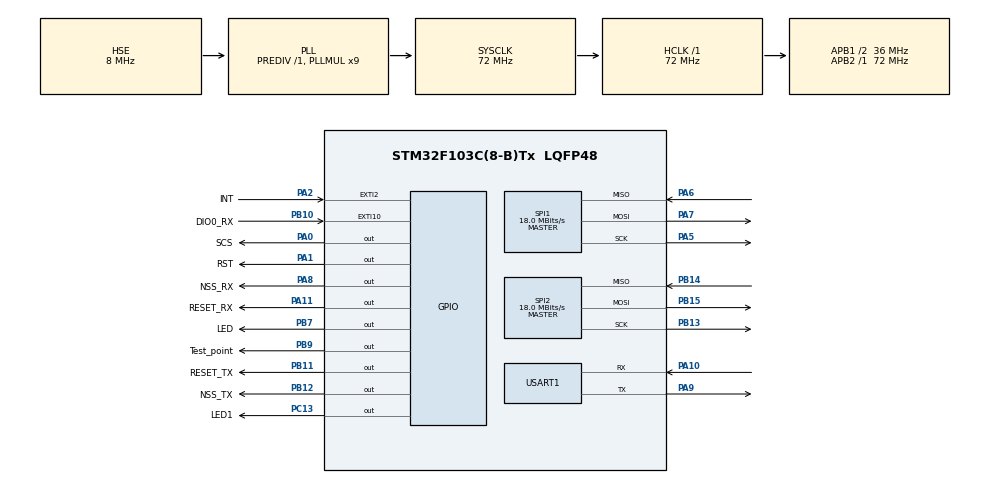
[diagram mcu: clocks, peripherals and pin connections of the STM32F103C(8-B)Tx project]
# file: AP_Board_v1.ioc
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Mcu.Family=STM32F1
Mcu.Name=STM32F103C(8-B)Tx
Mcu.Package=LQFP48
NVIC.EXTI15_10_IRQn=true\:0\:0\:false\:false\:true\:true\:true\:true
NVIC.EXTI2_IRQn=true\:0\:0\:false\:false\:true\:true\:true\:true
NVIC.PriorityGroup=NVIC_PRIORITYGROUP_4
NVIC.TIM1_UP_IRQn=true\:0\:0\:false\:false\:true\:true\:true\:true
NVIC.TIM2_IRQn=true\:0\:0\:false\:false\:true\:true\:true\:true
PA0-WKUP.GPIO_Label=SCS
PA0-WKUP.Signal=GPIO_Output
PA1.GPIO_Label=RST
PA1.Signal=GPIO_Output
PA10.Mode=Asynchronous
PA10.Signal=USART1_RX
PA11.GPIO_Label=RESET_RX
PA11.Signal=GPIO_Output
PA13.Mode=Serial_Wire
PA13.Signal=SYS_JTMS-SWDIO
PA14.Mode=Serial_Wire
PA14.Signal=SYS_JTCK-SWCLK
PA2.GPIO_Label=INT
PA2.GPIO_ModeDefaultEXTI=GPIO_MODE_IT_RISING
PA2.Signal=GPXTI2
PA5.Mode=Full_Duplex_Master
PA5.Signal=SPI1_SCK
PA6.Mode=Full_Duplex_Master
PA6.Signal=SPI1_MISO
PA7.Mode=Full_Duplex_Master
PA7.Signal=SPI1_MOSI
PA8.GPIO_Label=NSS_RX
PA8.Signal=GPIO_Output
PA9.Mode=Asynchronous
PA9.Signal=USART1_TX
PB10.GPIO_Label=DIO0_RX
PB10.Signal=GPXTI10
PB11.GPIO_Label=RESET_TX
PB11.Signal=GPIO_Output
PB12.GPIO_Label=NSS_TX
PB12.Signal=GPIO_Output
PB13.Mode=Full_Duplex_Master
PB13.Signal=SPI2_SCK
PB14.Mode=Full_Duplex_Master
PB14.Signal=SPI2_MISO
PB15.Mode=Full_Duplex_Master
PB15.Signal=SPI2_MOSI
PB7.GPIO_Label=LED
PB7.Signal=GPIO_Output
PB9.GPIO_Label=Test_point
PB9.GPIO_Speed=GPIO_SPEED_FREQ_HIGH
PB9.Signal=GPIO_Output
PC13-TAMPER-RTC.GPIO_Label=LED1
PC13-TAMPER-RTC.Signal=GPIO_Output
PD0-OSC_IN.Mode=HSE-External-Oscillator
PD0-OSC_IN.Signal=RCC_OSC_IN
PD1-OSC_OUT.Mode=HSE-External-Oscillator
PD1-OSC_OUT.Signal=RCC_OSC_OUT
ProjectManager.HeapSize=0x200
ProjectManager.StackSize=0x400
ProjectManager.TargetToolchain=MDK-ARM V5.32
RCC.AHBFreq_Value=72000000
RCC.APB1CLKDivider=RCC_HCLK_DIV2
RCC.APB1Freq_Value=36000000
RCC.APB1TimFreq_Value=72000000
RCC.APB2Freq_Value=72000000
RCC.APB2TimFreq_Value=72000000
RCC.HCLKFreq_Value=72000000
RCC.PLLMUL=RCC_PLL_MUL9
RCC.PLLSourceVirtual=RCC_PLLSOURCE_HSE
RCC.SYSCLKFreq_VALUE=72000000
RCC.SYSCLKSource=RCC_SYSCLKSOURCE_PLLCLK
RCC.USBFreq_Value=72000000
SPI1.BaudRatePrescaler=SPI_BAUDRATEPRESCALER_4
SPI1.CalculateBaudRate=18.0 MBits/s
SPI1.Direction=SPI_DIRECTION_2LINES
SPI1.Mode=SPI_MODE_MASTER
SPI1.VirtualType=VM_MASTER
SPI2.CalculateBaudRate=18.0 MBits/s
SPI2.Direction=SPI_DIRECTION_2LINES
SPI2.Mode=SPI_MODE_MASTER
SPI2.VirtualType=VM_MASTER
TIM1.Period=999
TIM1.Prescaler=71
TIM2.AutoReloadPreload=TIM_AUTORELOAD_PRELOAD_ENABLE
TIM2.Prescaler=71
USART1.VirtualMode=VM_ASYNC
VP_TIM1_VS_ClockSourceINT.Mode=Internal
VP_TIM2_VS_ClockSourceINT.Mode=Internal
board=custom

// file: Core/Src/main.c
/* USER CODE BEGIN Header */
/**
  ******************************************************************************
  * @file           : main.c
  * @brief          : Main program body
  ******************************************************************************
  * @attention
  *
  * Copyright (c) 2024 STMicroelectronics.
  * All rights reserved.
  *
  * This software is licensed under terms that can be found in the LICENSE file
  * in the root directory of this software component.
  * If no LICENSE file comes with this software, it is provided AS-IS.
  *
  ******************************************************************************
  */
/* USER CODE END Header */
#include "main.h"

/* USER CODE BEGIN Includes */
#include "socket.h"
#include "wizchip_conf.h"
#include "w5500.h"
#include "w5500_spi.h"
#include "data_process.h"

#include <stdarg.h>
#include <string.h>
#include <stdlib.h>

#include <Lora.h>

/* USER CODE END Includes */

SPI_HandleTypeDef hspi1;
SPI_HandleTypeDef hspi2;

TIM_HandleTypeDef htim1;
TIM_HandleTypeDef htim2;

UART_HandleTypeDef huart1;

/* USER CODE BEGIN PV */

	/*------------------------------------*/
	uint8_t TX_toPC[DATA_BUF_SIZE];
	uint8_t RX_fromPC[DATA_BUF_SIZE];

	uint8_t des_ip[] = {192,168,1,100};
	uint16_t des_port = 1111;

	/*------------------------------------*/
	LoRa LoRa_TX;
	LoRa LoRa_RX;

	uint8_t TX_toRobot[DATA_BUF_SIZE];
	uint8_t RX_fromRobot[DATA_BUF_SIZE];
	/*------------------------------------*/

	uint32_t k = 0;

	uint8_t flag_rx = 0;
	uint8_t have_cmd = 0;

	uint16_t flag_led = 0;
	uint16_t toggle = 0;

	uint32_t time_tick = 0;
	uint32_t start = 0, s=0;
	uint32_t end = 0, e=0;
	uint32_t time = 0, t=0;

	uint16_t result_config_TX = 0xEE;
	uint16_t result_config_RX = 0xEE;

	uint8_t auto_trans = 0;
	uint8_t check_trans = 0xCC;
	uint8_t check_rx = 0xCC;

	uint8_t result_send = 0;

	uint16_t num_receive = 0;

	uint32_t tick_while1 = 0;

	uint16_t flag_autosend = 0;

	uint32_t dagui = 0;
	uint32_t danhan = 0;
	uint32_t gui_dung = 0;

	uint8_t flag_get_mode = 0;
	uint8_t check_regMode = 0x00;

	uint8_t flag_send_FSK = 0;
	uint8_t check_trans_FSK = 0;

	uint16_t num_RX_LoRa = 0;

	uint8_t enable_rx = 1;

	uint8_t check_byte1 = 0x00;
	uint8_t check_byte2 = 0x00;

	//--------------------------------------
	timeInterval_t vTimeTransfer;

/* USER CODE END PV */

void SystemClock_Config(void);
static void MX_GPIO_Init(void);
static void MX_SPI1_Init(void);
static void MX_USART1_UART_Init(void);
static void MX_TIM1_Init(void);
static void MX_SPI2_Init(void);
static void MX_TIM2_Init(void);

/* USER CODE BEGIN 0 */
	void my_printf(const char* format, ...) {
//    va_list args;
//    va_start(args, format);

//    char buffer[256];
//    vsnprintf(buffer, sizeof(buffer), format, args);

//    // Gui du lieu qua UART
//    //HAL_UART_Transmit(&huart1, (uint8_t*)buffer, strlen(buffer), HAL_MAX_DELAY);

//    va_end(args);
	}
	/*----------------------------------------------------*/
	void HAL_GPIO_EXTI_Callback(uint16_t GPIO_Pin) {
    if(GPIO_Pin == INT_Pin){

    }
		if(GPIO_Pin == LoRa_RX.DIO0_pin){
			num_RX_LoRa++;
			if(enable_rx == 1)
				flag_rx = 1;
		}
	}
	/*----------------------------------------------------*/
	void HAL_TIM_PeriodElapsedCallback(TIM_HandleTypeDef *htim)
	{
		/* Prevent unused argument(s) compilation warning */
		UNUSED(htim);

		if (htim->Instance == htim1.Instance){ 	// every 1ms
      flag_led++;
			if(++flag_autosend >= 100){
				flag_autosend = 0;
				auto_trans = 1;
			}
    }
		if (htim->Instance == htim2.Instance){ 	// every 1us
      time_tick++;
			HAL_GPIO_TogglePin(Test_point_GPIO_Port, Test_point_Pin);
    }
	}
	/*----------------------------------------------------*/
	void TimeOut_Init(timeInterval_t *pTO){
		pTO->start_time = 0;
		pTO->current_time = 0;
		pTO->interval = 0;
	}
	/*----------------------------------------------------*/
	uint8_t checksum(uint8_t *array, uint8_t size){
    uint8_t sum = 0x00;
    for(uint8_t i = 0; i < size-1; i++)
        sum += array[i];
    return sum;
	}
	/*----------------------------------------------------*/
	uint32_t getMicroS(void){
		return time_tick*65536 + __HAL_TIM_GetCounter(&htim2);
	}

/* USER CODE END 0 */

int main(void)
 {

  /* MCU Configuration--------------------------------------------------------*/

  /* Reset of all peripherals, Initializes the Flash interface and the Systick. */
  HAL_Init();

  /* USER CODE BEGIN Init */
		TimeOut_Init(&vTimeTransfer);

  /* USER CODE END Init */

  /* Configure the system clock */
  SystemClock_Config();

  /* Initialize all configured peripherals */
  MX_GPIO_Init();
  MX_SPI1_Init();
  MX_USART1_UART_Init();
  MX_TIM1_Init();
  MX_SPI2_Init();
  MX_TIM2_Init();
  /* USER CODE BEGIN 2 */
		memset(RX_fromPC, 0x00, DATA_BUF_SIZE);
		memset(TX_toPC, 0x00, DATA_BUF_SIZE);
		HAL_GPIO_WritePin(LED_GPIO_Port, LED_Pin, GPIO_PIN_RESET);

		/*********************************
		 *				Init for W5500
		 *********************************/
		w5500_Init();
		/***w5500_Config only use once when set IP and port***/
		//w5500_Config();

		/*----------------------------------------*/
		/***Make a Server and open a listening port***/
		if(socket(1,Sn_MR_UDP, 1111, 0) != 1){
			my_printf("\r\n Cannot create socket!");
			toggle = 2000;
		}
		else{
			toggle = 1000;
			my_printf("\r\nSocket Created Successdully!\r\n");
			uint8_t socket_io_mode =SOCK_IO_BLOCK;
			ctlsocket(1,CS_SET_IOMODE,&socket_io_mode);
			my_printf("Start listening on port %d \r\n",100);
			my_printf("Waiting for a client connection... \r\n");
		}
		uint8_t sr = 0x00;

		/*********************************
		 *				Init for LoRa
		 *********************************/
		Lora_Init(&LoRa_TX, &hspi2, 895, LORA_TX);
		LoRa_reset(&LoRa_TX);
		result_config_TX = LoRa_Config(&LoRa_TX);
		HAL_Delay(5);
		Lora_Init(&LoRa_RX, &hspi2, 895, LORA_RX);
		LoRa_reset(&LoRa_RX);
		result_config_RX = LoRa_Config(&LoRa_RX);

		LoRa_startReceiving(&LoRa_RX);

		memset(TX_toRobot, 0x00, DATA_BUF_SIZE);
		memset(RX_fromRobot, 0x00, DATA_BUF_SIZE);

		HAL_TIM_Base_Start_IT(&htim1);
		HAL_TIM_Base_Start_IT(&htim2);

  /* USER CODE END 2 */

  /* Infinite loop */
  while (1)
  {

    /* USER CODE BEGIN 3 */
		tick_while1++;

		sr = getSn_SR(1);		//16us
		if(sr == 0x00){		// do not have any client
			toggle = 1000;
		}

		if(sr == 0x22){				// 0x17 if TCP, 0x22 if UDP
			toggle = 100;		// have a client

			/*Receiving request/commmed from PC and transmit to robot*/

			uint8_t rx_size = getSn_RX_RSR(1);
			uint8_t len = DATA_BUF_SIZE;

			if(rx_size != 0){
				/*Saturate the size of receiving*/
				if(rx_size < len) len = rx_size;

				/*Get the data from W5500 FIFO*/
				recvfrom(1, (uint8_t *)RX_fromPC, len, des_ip, &des_port);

				/*Check sum*/
				uint8_t check_byte = checksum(RX_fromPC, DATA_BUF_SIZE);
				if(check_byte == RX_fromPC[DATA_BUF_SIZE-1]){			//mess ok
					for(uint8_t i=0; i<DATA_BUF_SIZE; i++)
						TX_toRobot[i] = RX_fromPC[i];

					/*Disable LoRa_RX*/
					uint8_t mode = LoRa_RX.current_mode;
					LoRa_gotoMode(&LoRa_RX, STNBY_MODE);  //   SLEEP_MODE
					enable_rx = 0;

					/*Send to Robot*/
					check_trans = LoRa_transmit(&LoRa_TX, (uint8_t*)TX_toRobot, DATA_BUF_SIZE, 1000);

					if(check_trans){		// Send to Robot Successfully
						dagui++;
						vTimeTransfer.start_time = time_tick*65536 + __HAL_TIM_GetCounter(&htim2);
					}
					else{					/*Send to robot fail*/
						for(uint8_t i=0; i<DATA_BUF_SIZE; i++)
							TX_toPC[i] = RX_fromPC[i];

						/*Response a error message to PC*/
						//sendto(1, (uint8_t *)TX_toPC, DATA_BUF_SIZE, des_ip, des_port);		//UDP		290us
					}
					enable_rx = 1;

					/*Enable LoRa_RX again*/
					LoRa_gotoMode(&LoRa_RX, mode);
				}
				else{			// Wrong mess
					memset(RX_fromPC, 0x00, DATA_BUF_SIZE);
					for(uint8_t i=0; i<DATA_BUF_SIZE; i++)
						TX_toPC[i] = 0xFF;

						/*Response a error message to PC*/
						//sendto(1, (uint8_t *)TX_toPC, DATA_BUF_SIZE, des_ip, des_port);		//UDP		290us
				}
			}

		}
		/*_______________________________________________________________________________*/
									/*Receiving response from robot and transmit to PC*/
		/*_______________________________________________________________________________*/

			if(flag_rx == 1){
				flag_rx = 0;

				/*Receive from Robot*/
				check_rx =	LoRa_receive(&LoRa_RX, (uint8_t*)RX_fromRobot, DATA_BUF_SIZE);		//400us

				/*Check sum*/
				uint8_t check_byte = checksum(RX_fromRobot, DATA_BUF_SIZE);
				if(check_byte == RX_fromRobot[DATA_BUF_SIZE-1]){			// mess ok
					danhan++;
					vTimeTransfer.current_time = time_tick*65536 + __HAL_TIM_GetCounter(&htim2);
					vTimeTransfer.interval = vTimeTransfer.current_time - vTimeTransfer.start_time;

					for(uint8_t i=0; i<DATA_BUF_SIZE; i++)
						TX_toPC[i] = RX_fromRobot[i];

					/*Send to PC*/
					sendto(1, (uint8_t *)TX_toPC, DATA_BUF_SIZE, des_ip, des_port);		//UDP		290us
				}
				else{			// wrong mess
					for(uint8_t i=0; i<DATA_BUF_SIZE; i++)
							TX_toPC[i] = RX_fromPC[i];

						/*Response a error message to PC*/
					//sendto(1, (uint8_t *)TX_toPC, DATA_BUF_SIZE, des_ip, des_port);		//UDP		290us

				}
			}

		/*_______________________________________________________________________________*/
			if(flag_led >= toggle){
				flag_led = 0;
				HAL_GPIO_TogglePin(LED_GPIO_Port, LED_Pin);
			}

			if(auto_trans == 1){
				auto_trans = 0;
				memset(TX_toRobot, 0x00, DATA_BUF_SIZE);

				for(uint8_t i=0; i< DATA_BUF_SIZE-1; i++){
					TX_toRobot[i] = rand() % 100;
					TX_toRobot[DATA_BUF_SIZE-1] += TX_toRobot[i];
				}

				uint8_t mode = LoRa_RX.current_mode;
				LoRa_gotoMode(&LoRa_RX, STNBY_MODE);  //   SLEEP_MODE
				enable_rx = 0;

				check_trans = LoRa_transmit(&LoRa_TX, (uint8_t*)TX_toRobot, DATA_BUF_SIZE, 1000);

				if(check_trans){
					dagui++;
					start = time_tick*65536 + __HAL_TIM_GetCounter(&htim2);
				}
				enable_rx = 1;

				LoRa_gotoMode(&LoRa_RX, mode);
				//LoRa_RX.current_mode = mode;
			}

//			if(flag_get_mode){
//				flag_get_mode = 0;
//				check_regMode = LoRa_read(&myLoRa, RegOpMode);
//			}

//			start = time_tick*65536 + __HAL_TIM_GetCounter(&htim2);
//			end = time_tick*65536 + __HAL_TIM_GetCounter(&htim2);
//			time = end - start;
  }
  /* USER CODE END 3 */
}

void SystemClock_Config(void)
{
  RCC_OscInitTypeDef RCC_OscInitStruct = {0};
  RCC_ClkInitTypeDef RCC_ClkInitStruct = {0};

  /** Initializes the RCC Oscillators according to the specified parameters
  * in the RCC_OscInitTypeDef structure.
  */
  RCC_OscInitStruct.OscillatorType = RCC_OSCILLATORTYPE_HSE;
  RCC_OscInitStruct.HSEState = RCC_HSE_ON;
  RCC_OscInitStruct.HSEPredivValue = RCC_HSE_PREDIV_DIV1;
  RCC_OscInitStruct.HSIState = RCC_HSI_ON;
  RCC_OscInitStruct.PLL.PLLState = RCC_PLL_ON;
  RCC_OscInitStruct.PLL.PLLSource = RCC_PLLSOURCE_HSE;
  RCC_OscInitStruct.PLL.PLLMUL = RCC_PLL_MUL9;
  if (HAL_RCC_OscConfig(&RCC_OscInitStruct) != HAL_OK)
  {
    Error_Handler();
  }

  /** Initializes the CPU, AHB and APB buses clocks
  */
  RCC_ClkInitStruct.ClockType = RCC_CLOCKTYPE_HCLK|RCC_CLOCKTYPE_SYSCLK
                              |RCC_CLOCKTYPE_PCLK1|RCC_CLOCKTYPE_PCLK2;
  RCC_ClkInitStruct.SYSCLKSource = RCC_SYSCLKSOURCE_PLLCLK;
  RCC_ClkInitStruct.AHBCLKDivider = RCC_SYSCLK_DIV1;
  RCC_ClkInitStruct.APB1CLKDivider = RCC_HCLK_DIV2;
  RCC_ClkInitStruct.APB2CLKDivider = RCC_HCLK_DIV1;

  if (HAL_RCC_ClockConfig(&RCC_ClkInitStruct, FLASH_LATENCY_2) != HAL_OK)
  {
    Error_Handler();
  }
}

static void MX_SPI1_Init(void)
{

  /* SPI1 parameter configuration*/
  hspi1.Instance = SPI1;
  hspi1.Init.Mode = SPI_MODE_MASTER;
  hspi1.Init.Direction = SPI_DIRECTION_2LINES;
  hspi1.Init.DataSize = SPI_DATASIZE_8BIT;
  hspi1.Init.CLKPolarity = SPI_POLARITY_LOW;
  hspi1.Init.CLKPhase = SPI_PHASE_1EDGE;
  hspi1.Init.NSS = SPI_NSS_SOFT;
  hspi1.Init.BaudRatePrescaler = SPI_BAUDRATEPRESCALER_4;
  hspi1.Init.FirstBit = SPI_FIRSTBIT_MSB;
  hspi1.Init.TIMode = SPI_TIMODE_DISABLE;
  hspi1.Init.CRCCalculation = SPI_CRCCALCULATION_DISABLE;
  hspi1.Init.CRCPolynomial = 10;
  if (HAL_SPI_Init(&hspi1) != HAL_OK)
  {
    Error_Handler();
  }

}

static void MX_SPI2_Init(void)
{

  /* SPI2 parameter configuration*/
  hspi2.Instance = SPI2;
  hspi2.Init.Mode = SPI_MODE_MASTER;
  hspi2.Init.Direction = SPI_DIRECTION_2LINES;
  hspi2.Init.DataSize = SPI_DATASIZE_8BIT;
  hspi2.Init.CLKPolarity = SPI_POLARITY_LOW;
  hspi2.Init.CLKPhase = SPI_PHASE_1EDGE;
  hspi2.Init.NSS = SPI_NSS_SOFT;
  hspi2.Init.BaudRatePrescaler = SPI_BAUDRATEPRESCALER_2;
  hspi2.Init.FirstBit = SPI_FIRSTBIT_MSB;
  hspi2.Init.TIMode = SPI_TIMODE_DISABLE;
  hspi2.Init.CRCCalculation = SPI_CRCCALCULATION_DISABLE;
  hspi2.Init.CRCPolynomial = 10;
  if (HAL_SPI_Init(&hspi2) != HAL_OK)
  {
    Error_Handler();
  }

}

static void MX_TIM1_Init(void)
{

  TIM_ClockConfigTypeDef sClockSourceConfig = {0};
  TIM_MasterConfigTypeDef sMasterConfig = {0};

  htim1.Instance = TIM1;
  htim1.Init.Prescaler = 71;
  htim1.Init.CounterMode = TIM_COUNTERMODE_UP;
  htim1.Init.Period = 999;
  htim1.Init.ClockDivision = TIM_CLOCKDIVISION_DIV1;
  htim1.Init.RepetitionCounter = 0;
  htim1.Init.AutoReloadPreload = TIM_AUTORELOAD_PRELOAD_DISABLE;
  if (HAL_TIM_Base_Init(&htim1) != HAL_OK)
  {
    Error_Handler();
  }
  sClockSourceConfig.ClockSource = TIM_CLOCKSOURCE_INTERNAL;
  if (HAL_TIM_ConfigClockSource(&htim1, &sClockSourceConfig) != HAL_OK)
  {
    Error_Handler();
  }
  sMasterConfig.MasterOutputTrigger = TIM_TRGO_RESET;
  sMasterConfig.MasterSlaveMode = TIM_MASTERSLAVEMODE_DISABLE;
  if (HAL_TIMEx_MasterConfigSynchronization(&htim1, &sMasterConfig) != HAL_OK)
  {
    Error_Handler();
  }

}

static void MX_TIM2_Init(void)
{

  TIM_ClockConfigTypeDef sClockSourceConfig = {0};
  TIM_MasterConfigTypeDef sMasterConfig = {0};

  htim2.Instance = TIM2;
  htim2.Init.Prescaler = 71;
  htim2.Init.CounterMode = TIM_COUNTERMODE_UP;
  htim2.Init.Period = 65535;
  htim2.Init.ClockDivision = TIM_CLOCKDIVISION_DIV1;
  htim2.Init.AutoReloadPreload = TIM_AUTORELOAD_PRELOAD_ENABLE;
  if (HAL_TIM_Base_Init(&htim2) != HAL_OK)
  {
    Error_Handler();
  }
  sClockSourceConfig.ClockSource = TIM_CLOCKSOURCE_INTERNAL;
  if (HAL_TIM_ConfigClockSource(&htim2, &sClockSourceConfig) != HAL_OK)
  {
    Error_Handler();
  }
  sMasterConfig.MasterOutputTrigger = TIM_TRGO_RESET;
  sMasterConfig.MasterSlaveMode = TIM_MASTERSLAVEMODE_DISABLE;
  if (HAL_TIMEx_MasterConfigSynchronization(&htim2, &sMasterConfig) != HAL_OK)
  {
    Error_Handler();
  }

}

static void MX_USART1_UART_Init(void)
{

  huart1.Instance = USART1;
  huart1.Init.BaudRate = 115200;
  huart1.Init.WordLength = UART_WORDLENGTH_8B;
  huart1.Init.StopBits = UART_STOPBITS_1;
  huart1.Init.Parity = UART_PARITY_NONE;
  huart1.Init.Mode = UART_MODE_TX_RX;
  huart1.Init.HwFlowCtl = UART_HWCONTROL_NONE;
  huart1.Init.OverSampling = UART_OVERSAMPLING_16;
  if (HAL_UART_Init(&huart1) != HAL_OK)
  {
    Error_Handler();
  }

}

static void MX_GPIO_Init(void)
{
  GPIO_InitTypeDef GPIO_InitStruct = {0};

  /* GPIO Ports Clock Enable */
  __HAL_RCC_GPIOC_CLK_ENABLE();
  __HAL_RCC_GPIOD_CLK_ENABLE();
  __HAL_RCC_GPIOA_CLK_ENABLE();
  __HAL_RCC_GPIOB_CLK_ENABLE();

  /*Configure GPIO pin Output Level */
  HAL_GPIO_WritePin(LED1_GPIO_Port, LED1_Pin, GPIO_PIN_RESET);

  /*Configure GPIO pin Output Level */
  HAL_GPIO_WritePin(GPIOA, SCS_Pin|RST_Pin|NSS_RX_Pin|RESET_RX_Pin, GPIO_PIN_RESET);

  /*Configure GPIO pin Output Level */
  HAL_GPIO_WritePin(GPIOB, RESET_TX_Pin|NSS_TX_Pin|LED_Pin|Test_point_Pin, GPIO_PIN_RESET);

  /*Configure GPIO pin : LED1_Pin */
  GPIO_InitStruct.Pin = LED1_Pin;
  GPIO_InitStruct.Mode = GPIO_MODE_OUTPUT_PP;
  GPIO_InitStruct.Pull = GPIO_NOPULL;
  GPIO_InitStruct.Speed = GPIO_SPEED_FREQ_LOW;
  HAL_GPIO_Init(LED1_GPIO_Port, &GPIO_InitStruct);

  /*Configure GPIO pins : SCS_Pin RST_Pin NSS_RX_Pin RESET_RX_Pin */
  GPIO_InitStruct.Pin = SCS_Pin|RST_Pin|NSS_RX_Pin|RESET_RX_Pin;
  GPIO_InitStruct.Mode = GPIO_MODE_OUTPUT_PP;
  GPIO_InitStruct.Pull = GPIO_NOPULL;
  GPIO_InitStruct.Speed = GPIO_SPEED_FREQ_LOW;
  HAL_GPIO_Init(GPIOA, &GPIO_InitStruct);

  /*Configure GPIO pin : INT_Pin */
  GPIO_InitStruct.Pin = INT_Pin;
  GPIO_InitStruct.Mode = GPIO_MODE_IT_RISING;
  GPIO_InitStruct.Pull = GPIO_NOPULL;
  HAL_GPIO_Init(INT_GPIO_Port, &GPIO_InitStruct);

  /*Configure GPIO pin : DIO0_RX_Pin */
  GPIO_InitStruct.Pin = DIO0_RX_Pin;
  GPIO_InitStruct.Mode = GPIO_MODE_IT_RISING;
  GPIO_InitStruct.Pull = GPIO_NOPULL;
  HAL_GPIO_Init(DIO0_RX_GPIO_Port, &GPIO_InitStruct);

  /*Configure GPIO pins : RESET_TX_Pin NSS_TX_Pin LED_Pin */
  GPIO_InitStruct.Pin = RESET_TX_Pin|NSS_TX_Pin|LED_Pin;
  GPIO_InitStruct.Mode = GPIO_MODE_OUTPUT_PP;
  GPIO_InitStruct.Pull = GPIO_NOPULL;
  GPIO_InitStruct.Speed = GPIO_SPEED_FREQ_LOW;
  HAL_GPIO_Init(GPIOB, &GPIO_InitStruct);

  /*Configure GPIO pin : Test_point_Pin */
  GPIO_InitStruct.Pin = Test_point_Pin;
  GPIO_InitStruct.Mode = GPIO_MODE_OUTPUT_PP;
  GPIO_InitStruct.Pull = GPIO_NOPULL;
  GPIO_InitStruct.Speed = GPIO_SPEED_FREQ_HIGH;
  HAL_GPIO_Init(Test_point_GPIO_Port, &GPIO_InitStruct);

  /* EXTI interrupt init*/
  HAL_NVIC_SetPriority(EXTI2_IRQn, 0, 0);
  HAL_NVIC_EnableIRQ(EXTI2_IRQn);

  HAL_NVIC_SetPriority(EXTI15_10_IRQn, 0, 0);
  HAL_NVIC_EnableIRQ(EXTI15_10_IRQn);

}

void Error_Handler(void)
{
  __disable_irq();
  while (1)
  {
  }
}
